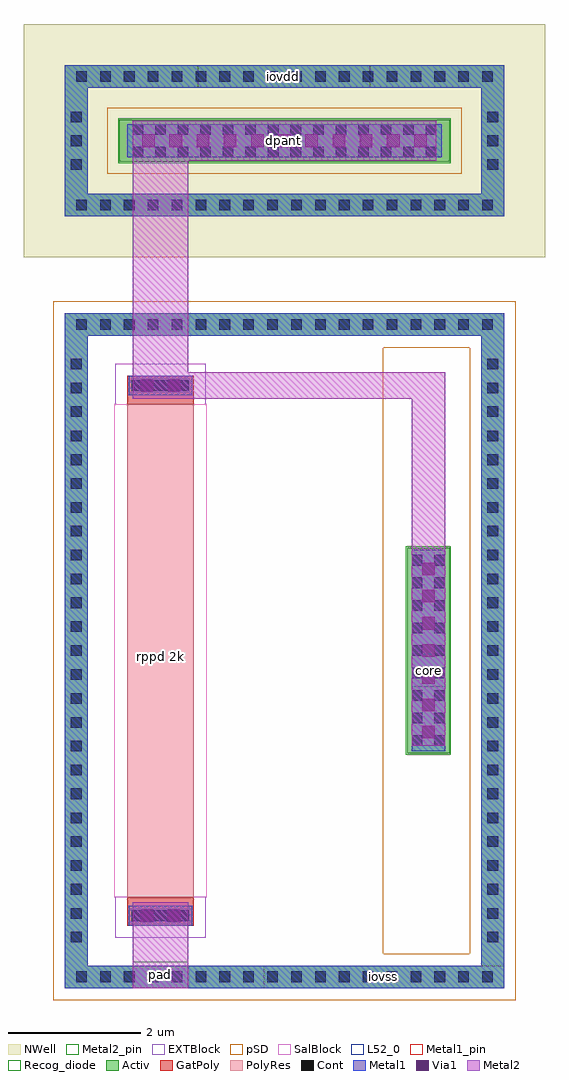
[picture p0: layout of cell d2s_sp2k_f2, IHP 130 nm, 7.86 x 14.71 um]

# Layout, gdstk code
from math import pi, radians
import gdstk
lib = gdstk.Library(unit=1e-6, precision=1e-09)
def R(c, l, rs):  # rectangles x0, y0, x1, y1
    for r in rs: c.add(gdstk.rectangle(r[:2], r[2:], *l))
def A(c, l, x, y, w, h, nx, ny, dx, dy):  # array of equal rectangles
    R(c, l, [(x+i*dx, y+j*dy, x+i*dx+w, y+j*dy+h) for i in range(nx) for j in range(ny)])
Activ = (1, 0)
GatPoly = (5, 0)
Cont = (6, 0)
Metal1 = (8, 0)
Metal1_pin = (8, 2)
Metal2 = (10, 0)
Metal2_pin = (10, 2)
pSD = (14, 0)
Via1 = (19, 0)
SalBlock = (28, 0)
NWell = (31, 0)
L52_0 = (52, 0)
Recog_diode = (99, 31)
EXTBlock = (111, 0)
PolyRes = (128, 0)

rppd = lib.new_cell('rppd')
R(rppd, GatPoly, [(0,-0.43,1,-0.2), (0,-0.2,1,0), (0,7.435,1,7.635), (0,7.635,1,7.865)])
R(rppd, Cont, [(0.07,-0.36,0.93,-0.2), (0.07,7.635,0.93,7.795)])
R(rppd, Metal1, [(0.02,-0.43,0.98,-0.13), (0.02,7.565,0.98,7.865)])
R(rppd, Metal1_pin, [(0.02,-0.43,0.98,-0.13), (0.02,7.565,0.98,7.865)])
R(rppd, pSD, [(-0.18,-0.61,1.18,0), (-0.18,0,1.18,7.435), (-0.18,7.435,1.18,8.045)])
R(rppd, SalBlock, [(-0.2,0,1.2,7.435)])
R(rppd, L52_0, [(0,0,1,7.435)])
R(rppd, EXTBlock, [(-0.18,-0.61,1.18,0), (-0.2,0,1.2,7.435), (-0.18,7.435,1.18,8.045)])
R(rppd, PolyRes, [(0,0,1,7.435)])
rppd.add(gdstk.Label('rppd r=1991.571', (0.5,3.717), layer=63, texttype=0))
rppd.add(gdstk.Label('rppd', (0.5,3.717), layer=52, texttype=0))

dantenna = lib.new_cell('dantenna')
R(dantenna, Activ, [(0,0,0.64,3.1)])
A(dantenna, Cont, 0.07, 0.11, 0.16, 0.16, 1, 9, 0, 0.34)
A(dantenna, Cont, 0.41, 0.11, 0.16, 0.16, 1, 9, 0, 0.34)
R(dantenna, Metal1, [(0.07,0.11,0.57,2.99), (0.07,0.11,0.57,2.99)])
R(dantenna, Recog_diode, [(-0.02,-0.02,0.66,3.12)])
dantenna.add(gdstk.Label('dant', (0.32,1.55), layer=63, texttype=0))

dpantenna = lib.new_cell('dpantenna')
R(dpantenna, Activ, [(0,0,0.64,4.98)])
A(dpantenna, Cont, 0.07, 0.2, 0.16, 0.16, 1, 14, 0, 0.34)
A(dpantenna, Cont, 0.41, 0.2, 0.16, 0.16, 1, 14, 0, 0.34)
R(dpantenna, Metal1, [(0.07,0.2,0.57,4.78), (0.07,0.2,0.57,4.78)])
R(dpantenna, pSD, [(-0.18,-0.18,0.82,5.16)])
R(dpantenna, NWell, [(-0.31,-0.31,0.95,5.29)])
R(dpantenna, Recog_diode, [(-0.02,-0.02,0.66,5)])
dpantenna.add(gdstk.Label('dpant', (0.32,2.49), layer=63, texttype=0))

d2s_sp2k_f2 = lib.new_cell('d2s_sp2k_f2')
R(d2s_sp2k_f2, Activ, [(0,0,6.62,0.34), (0,0.34,0.34,9.835), (6.28,0.34,6.62,9.835), (0,9.835,6.62,10.175), (0,11.635,6.62,11.975), (0,11.975,0.34,13.575), (6.28,11.975,6.62,13.575), (0,13.575,6.62,13.915)])
A(d2s_sp2k_f2, Cont, 0.17, 0.09, 0.16, 0.16, 18, 2, 0.36, 9.835)
A(d2s_sp2k_f2, Cont, 0.09, 1.41, 0.16, 0.16, 1, 3, 0, 0.36)
A(d2s_sp2k_f2, Cont, 6.37, 1.41, 0.16, 0.16, 1, 3, 0, 0.36)
A(d2s_sp2k_f2, Cont, 0.09, 2.85, 0.16, 0.16, 1, 3, 0, 0.36)
A(d2s_sp2k_f2, Cont, 6.37, 2.85, 0.16, 0.16, 1, 3, 0, 0.36)
A(d2s_sp2k_f2, Cont, 0.09, 4.65, 0.16, 0.16, 1, 4, 0, 0.36)
A(d2s_sp2k_f2, Cont, 6.37, 4.65, 0.16, 0.16, 1, 4, 0, 0.36)
A(d2s_sp2k_f2, Cont, 0.17, 11.725, 0.16, 0.16, 18, 2, 0.36, 1.94)
A(d2s_sp2k_f2, Cont, 0.09, 12.335, 0.16, 0.16, 1, 3, 0, 0.36)
A(d2s_sp2k_f2, Cont, 6.37, 12.335, 0.16, 0.16, 1, 3, 0, 0.36)
R(d2s_sp2k_f2, Cont, [(0.09,0.69,0.25,0.85), (6.37,0.69,6.53,0.85), (0.09,1.045,0.25,1.205), (6.37,1.045,6.53,1.205), (0.09,2.485,0.25,2.645), (6.37,2.485,6.53,2.645), (0.09,3.925,0.25,4.085), (6.37,3.925,6.53,4.085), (0.09,4.285,0.25,4.445), (6.37,4.285,6.53,4.445), (0.09,6.085,0.25,6.245), (6.37,6.085,6.53,6.245), (0.09,6.45,0.25,6.61), (6.37,6.45,6.53,6.61), (0.09,6.81,0.25,6.97), (6.37,6.81,6.53,6.97), (0.09,7.165,0.25,7.325), (6.37,7.165,6.53,7.325), (0.09,7.53,0.25,7.69), (6.37,7.53,6.53,7.69), (0.09,7.885,0.25,8.045), (6.37,7.885,6.53,8.045), (0.09,8.245,0.25,8.405), (6.37,8.245,6.53,8.405), (0.09,8.61,0.25,8.77), (6.37,8.61,6.53,8.77), (0.09,8.965,0.25,9.125), (6.37,8.965,6.53,9.125), (0.09,9.33,0.25,9.49), (6.37,9.33,6.53,9.49)])
R(d2s_sp2k_f2, Metal1, [(0,0,6.62,0.34), (0,0.34,0.34,9.835), (6.28,0.34,6.62,9.835), (5.23,3.57,5.73,6.61), (0,9.835,6.62,10.175), (0,11.635,6.62,11.975), (0,11.975,0.34,13.575), (6.28,11.975,6.62,13.575), (0.94,12.525,5.68,13.025), (0,13.575,6.62,13.915)])
R(d2s_sp2k_f2, Metal1_pin, [(3,0,6.62,0.34), (2,13.575,4.6,13.915)])
R(d2s_sp2k_f2, Metal2, [(1.02,0,1.86,1.29), (5.23,3.65,5.73,9.285), (1.02,8.885,5.73,9.285), (1.02,8.885,1.86,13.075), (1.02,12.475,5.6,13.075)])
R(d2s_sp2k_f2, Metal2_pin, [(1.02,0,1.86,0.4), (5.23,4.54,5.73,5.04)])
R(d2s_sp2k_f2, pSD, [(-0.18,-0.18,6.8,0.52), (0,0,4.8,10.175), (-0.18,0.16,0.52,10.015), (6.1,0.16,6.8,10.015), (-0.18,9.655,6.8,10.355)])
A(d2s_sp2k_f2, Via1, 5.385, 3.765, 0.19, 0.19, 1, 7, 0, 0.41)
A(d2s_sp2k_f2, Via1, 1.165, 12.68, 0.19, 0.19, 11, 1, 0.41, 0)
R(d2s_sp2k_f2, Via1, [(1.14,0.995,1.33,1.185), (1.55,0.995,1.74,1.185), (1.14,8.99,1.33,9.18), (1.55,8.99,1.74,9.18)])
R(d2s_sp2k_f2, NWell, [(-0.62,11.015,7.24,14.535)])
d2s_sp2k_f2.add(gdstk.Reference(rppd, (0.94,1.37)))
d2s_sp2k_f2.add(gdstk.Reference(dantenna, (5.16,3.54)))
d2s_sp2k_f2.add(gdstk.Reference(dpantenna, (5.8,12.455), rotation=pi/2))
d2s_sp2k_f2.add(gdstk.Label('iovss', (4.81,0.17), layer=8, texttype=25))
d2s_sp2k_f2.add(gdstk.Label('iovdd', (3.3,13.745), layer=8, texttype=25))
d2s_sp2k_f2.add(gdstk.Label('pad', (1.44,0.2), layer=10, texttype=25))
d2s_sp2k_f2.add(gdstk.Label('core', (5.48,4.79), layer=10, texttype=25))
d2s_sp2k_f2.add(gdstk.Label('rppd 2k', (1.44,5), layer=63, texttype=0))
d2s_sp2k_f2.add(gdstk.Label('dant', (5.48,5), layer=63, texttype=0))
d2s_sp2k_f2.add(gdstk.Label('dpant', (3.3,12.775), layer=63, texttype=0))

lib.write_gds('d2s_sp2k_f2.gds')
